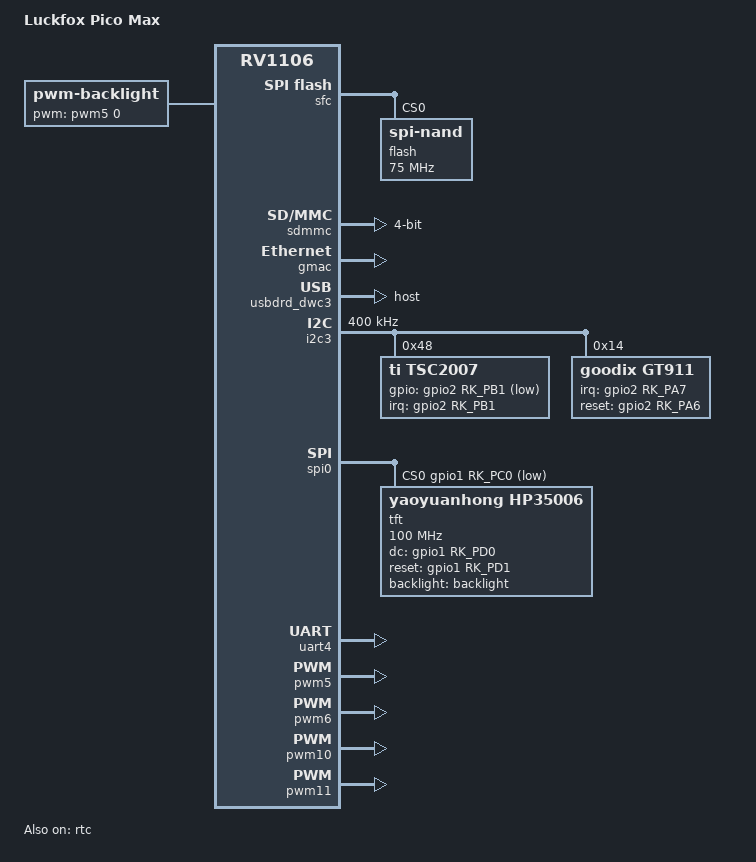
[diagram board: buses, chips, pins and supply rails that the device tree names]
// SPDX-License-Identifier: (GPL-2.0+ OR MIT)
/*
 * Copyright (c) 2022 Rockchip Electronics Co., Ltd.
 */

/dts-v1/;

#include "rv1106.dtsi"
#include "rv1106-evb.dtsi"
#include "rv1106-luckfox-pico-pro-max-ipc.dtsi"

/ {
	model = "Luckfox Pico Max";
	compatible = "rockchip,rv1103g-38x38-ipc-v10", "rockchip,rv1106";

	backlight: backlight {
		compatible = "pwm-backlight";
		pwms = <&pwm5 0 25000 0>;
		brightness-levels = <0 4 8 16 32 64 128 255>;
		default-brightness-level = <255>;
	};
};

&pinctrl {
	goodix-ts-pins {
		goodix_ts_pins:goodix-ts-pins {
			rockchip,pins = <2 RK_PA7 RK_FUNC_GPIO &pcfg_pull_up_drv_level_15>;
		};
	};
};

/**********FLASH**********/
&sfc {
	status = "okay";
	flash@0 {
		compatible = "spi-nand";
		reg = <0>;
		spi-max-frequency = <75000000>;
		spi-rx-bus-width = <4>;
		spi-tx-bus-width = <1>;
	};
	
};

/**********SDMMC**********/
&sdmmc {
	max-frequency = <50000000>;
	no-sdio;
	no-mmc;
	bus-width = <4>;
	cap-mmc-highspeed;
	cap-sd-highspeed;
	disable-wp;
	pinctrl-names = "default";
	pinctrl-0 = <&sdmmc0_clk &sdmmc0_cmd &sdmmc0_det &sdmmc0_bus4>;
	status = "okay";
};

/**********SDIO**********/
// &sdio {
// 	max-frequency = <50000000>;
// 	no-sdio;
// 	no-mmc;
// 	bus-width = <4>;
// 	cap-mmc-highspeed;
// 	cap-sd-highspeed;
// 	disable-wp;
// 	pinctrl-names = "default";
// 	pinctrl-0 = <&sdmmc1m0_cmd &sdmmc1m0_clk &sdmmc1m0_bus4 &clk_32k>;
// 	status = "okay";
// };

/**********ETH**********/
&gmac {
	status = "okay";
};

/**********USB**********/
&usbdrd_dwc3 {
	status = "okay";
	dr_mode = "host";
};

/**********I2C**********/
// &i2c1 {
// 	status = "okay";
// 	pinctrl-0 = <&i2c1m1_xfer>;
// 	clock-frequency = <100000>;
// };
&i2c3 {
	status = "okay";
	pinctrl-0 = <&i2c3m1_xfer>;
	clock-frequency = <400000>;

	tsc2007@48 {
		compatible = "ti,tsc2007";
		reg = <0x48>;
		interrupt-parent = <&gpio2>;
		interrupts = <RK_PB1 IRQ_TYPE_EDGE_FALLING>;
		gpios = <&gpio2 RK_PB1 GPIO_ACTIVE_LOW>;
		ti,x-plate-ohms = <257>; // x: 256.6 y: 562.2
		ti,fuzzx = <320>;
		ti,fuzzy = <480>;
	};

	gt911@14 {
		compatible = "goodix,gt911";
		reg = <0x14>;
		pinctrl-names = "default";
		pinctrl-0 = <&goodix_ts_pins>;
		interrupt-parent = <&gpio2>;
		interrupts = <RK_PA7 IRQ_TYPE_EDGE_FALLING>;
		irq-gpios = <&gpio2 RK_PA7 GPIO_ACTIVE_HIGH>;
		reset-gpios = <&gpio2 RK_PA6 GPIO_ACTIVE_HIGH>;
	};
};

// /**********SPI**********/
&spi0 {
	status = "okay";
	pinctrl-names = "default";
	pinctrl-0 = <&spi0m0_pins>;
	cs-gpios = <&gpio1 RK_PC0 1>;
	// cs-gpios = <&gpio1 26 1>;
	#address-cells = <1>;
	#size-cells = <0>;
	// spidev@0 {
	// 	compatible = "rockchip,spidev";
	// 	spi-max-frequency = <50000000>;
	// 	reg = <0>;
	// };

	tft: st7796u@0 {
		#address-cells = <1>;
		#size-cells = <1>;
		// compatible = "yaoyuanhong,yt350s006";
		compatible = "yaoyuanhong,hp35006";
		reg = <0>;
		spi-max-frequency = <100000000>;
		spi-cpol;
		spi-cpha;
		dc-gpios = <&gpio1 RK_PD0 GPIO_ACTIVE_HIGH>;
		reset-gpios = <&gpio1 RK_PD1 GPIO_ACTIVE_HIGH>;
		rotation = <90>;
		backlight = <&backlight>;
		status = "okay";
	};
};



/**********UART**********/

// &uart0 {
// 	status = "okay";
// 	pinctrl-names = "default";
// 	pinctrl-0 = <&uart0m1_xfer>;
// };

// &uart1 {
// 	status = "okay";
// 	pinctrl-names = "default";
// 	pinctrl-0 = <&uart1m1_xfer>;
// };

&uart3 {
	status = "disabled";
	pinctrl-names = "default";
	pinctrl-0 = <&uart3m1_xfer>;
};
&uart4 {
	status = "okay";
	pinctrl-names = "default";
	pinctrl-0 = <&uart4m1_xfer>;
};


// /**********PWM**********/

// &pwm0 {
// 	status = "okay";
// 	pinctrl-names = "active";
// 	pinctrl-0 = <&pwm0m0_pins>;
// 	// pinctrl-0 = <&pwm0m1_pins>;
// };
// &pwm1 {
// 	status = "okay";
// 	pinctrl-names = "active";
// 	pinctrl-0 = <&pwm1m0_pins>;
// 	// pinctrl-0 = <&pwm1m1_pins>;
// };

//&pwm2 {
//	status = "okay";
//	pinctrl-names = "active";
//	pinctrl-0 = <&pwm2m2_pins>;
//};
//&pwm3 {
//	status = "okay";
//	pinctrl-names = "active";
//	pinctrl-0 = <&pwm3m2_pins>;
//};
//&pwm4 {
//	status = "okay";
//	pinctrl-names = "active";
//	pinctrl-0 = <&pwm4m2_pins>;
//};
&pwm5 {
	status = "okay";
	pinctrl-names = "active";
	pinctrl-0 = <&pwm5m1_pins>;
	// pinctrl-0 = <&pwm5m2_pins>;
};
&pwm6 {
	status = "okay";
	pinctrl-names = "active";
	pinctrl-0 = <&pwm6m1_pins>;
	// pinctrl-0 = <&pwm6m2_pins>;
};
//&pwm7 {
//	status = "okay";
//	pinctrl-names = "active";
//	pinctrl-0 = <&pwm7m2_pins>;
//};
//&pwm8 {
//	status = "okay";
//	pinctrl-names = "active";
//	// pinctrl-0 = <&pwm8m1_pins>;
//	pinctrl-0 = <&pwm8m0_pins>;
//};
//&pwm9 {
//	status = "okay";
//	pinctrl-names = "active";
//	// pinctrl-0 = <&pwm9m1_pins>;
//	pinctrl-0 = <&pwm9m0_pins>;
//};

&pwm10 {
	status = "okay";
	pinctrl-names = "active";
	pinctrl-0 = <&pwm10m1_pins>;
	// pinctrl-0 = <&pwm10m2_pins>;
	// pinctrl-0 = <&pwm10m0_pins>;
};
&pwm11 {
	status = "okay";
	pinctrl-names = "active";
	pinctrl-0 = <&pwm11m1_pins>;
	// pinctrl-0 = <&pwm11m2_pins>;
	// pinctrl-0 = <&pwm11m0_pins>;
};


&rtc {
	status = "okay";
};


